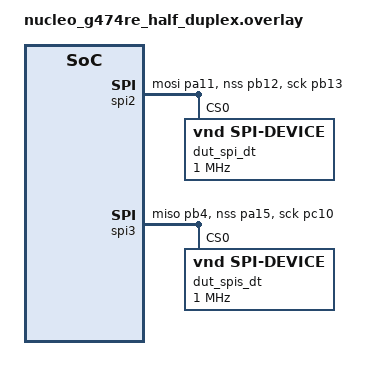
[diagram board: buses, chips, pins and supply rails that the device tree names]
/*
 * SPDX-FileCopyrightText: Copyright (c) 2026 STMicroelectronics
 * SPDX-License-Identifier: Apache-2.0
 */

#include <zephyr/dt-bindings/spi/spi.h>

/* The two SPI instances need to be connected as follows:
 * CN10:14 (SPI2 MOSI) to CN10:27 (SPI3 MISO)
 * CN10:16 (SPI2 NSS) to CN7:17 (SPI3 NSS)
 * CN10:30 (SPI2 SCK) to CN7:1 (SPI3 SCK)
 */

&fdcan1 {
	/* Disable FDCAN so that PA11 can be used for SPI2 MOSI */
	status = "disabled";
};

&pwm3 {
	/* Disable PWM3 so that PB4 can be used for SPI3 MISO */
	status = "disabled";
};

&spi2 {
	pinctrl-0 = <&spi2_mosi_pa11 &spi2_nss_pb12 &spi2_sck_pb13>;
	pinctrl-names = "default";
	interrupts = <36 1>;
	status = "okay";

	dut_spi_dt: test-spi-dev@0 {
		compatible = "vnd,spi-device";
		spi-max-frequency = <DT_FREQ_M(1)>;
		reg = <0>;
		duplex = <SPI_HALF_DUPLEX>;
	};
};

dut_spis: &spi3 {
	pinctrl-0 = <&spi3_miso_pb4 &spi3_nss_pa15 &spi3_sck_pc10>;
	pinctrl-names = "default";
	interrupts = <51 0>;
	status = "okay";

	dut_spis_dt: test-spi-dev@0 {
		compatible = "vnd,spi-device";
		spi-max-frequency = <DT_FREQ_M(1)>;
		reg = <0>;
		duplex = <SPI_HALF_DUPLEX>;
	};
};
